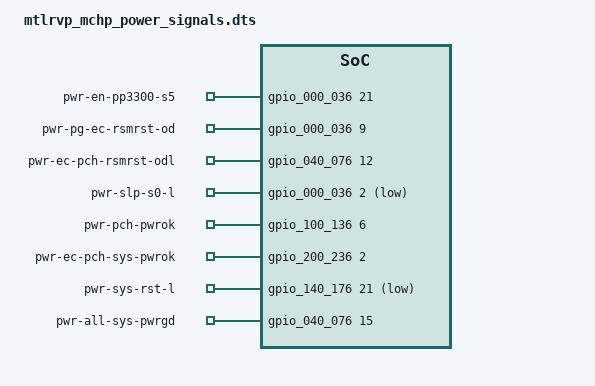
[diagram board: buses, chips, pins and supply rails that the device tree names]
/* Copyright 2022 The Chromium OS Authors. All rights reserved.
 * Use of this source code is governed by a BSD-style license that can be
 * found in the LICENSE file.
 */

/ {
	chosen {
		intel-ap-pwrseq,espi = &espi0;
	};

	common-pwrseq {
		compatible = "intel,ap-pwrseq";

		sys-pwrok-delay = <3>;
		all-sys-pwrgd-timeout = <20>;
	};

	pwr-en-pp3300-s5 {
		compatible = "intel,ap-pwrseq-gpio";
		dbg-label = "PP3300_S5 enable output to LS";
		enum-name = "PWR_EN_PP3300_A";
		/* gpios = <&gpioc 4 0>; */
		gpios = <&gpio_000_036 21 0>;
		output;
	}; /* GPIO025 */
	pwr-pg-ec-rsmrst-od {
		compatible = "intel,ap-pwrseq-gpio";
		dbg-label = "RSMRST power good from regulator";
		enum-name = "PWR_RSMRST_PWRGD";
		/* gpios = <&gpio6 6 0>; */
		gpios = <&gpio_000_036 9 0>;
		interrupt-flags = <GPIO_INT_EDGE_BOTH>;
	}; /* GPIO011 */
	pwr-ec-pch-rsmrst-odl {
		compatible = "intel,ap-pwrseq-gpio";
		dbg-label = "RSMRST output to PCH";
		enum-name = "PWR_EC_PCH_RSMRST";
		/* gpios = <&gpioa 4 0>; */
		gpios = <&gpio_040_076 12 0>;
		output;
	}; /* GPIO054 */
	pwr-slp-s0-l {
		compatible = "intel,ap-pwrseq-gpio";
		dbg-label = "SLP_S0_L input from PCH";
		enum-name = "PWR_SLP_S0";
		/* gpios = <&gpioa 1 GPIO_ACTIVE_LOW>; */
		gpios = <&gpio_000_036 2 GPIO_ACTIVE_LOW>;
		interrupt-flags = <GPIO_INT_EDGE_BOTH>;
	}; /* GPIO002 */
	pwr-pch-pwrok {
		compatible = "intel,ap-pwrseq-gpio";
		dbg-label = "PCH_PWROK output to PCH";
		enum-name = "PWR_PCH_PWROK";
		/* gpios = <&gpiod 3 GPIO_OPEN_DRAIN>; */
		gpios = <&gpio_100_136 6 GPIO_OPEN_DRAIN>;
		output;
	}; /* GPIO106 */
	pwr-ec-pch-sys-pwrok {
		compatible = "intel,ap-pwrseq-gpio";
		dbg-label = "SYS_PWROK output to PCH";
		enum-name = "PWR_EC_PCH_SYS_PWROK";
		/* gpios = <&gpiof 5 GPIO_OPEN_DRAIN>; */
		gpios = <&gpio_200_236 2 GPIO_OPEN_DRAIN>;
		output;
	}; /* GPIO202 */
	pwr-sys-rst-l {
		compatible = "intel,ap-pwrseq-gpio";
		dbg-label = "SYS_RESET# output to PCH";
		enum-name = "PWR_SYS_RST";
		/* gpios = <&gpioc 5 (GPIO_ACTIVE_LOW|GPIO_OPEN_DRAIN)>; */
		gpios = <&gpio_140_176 21 (GPIO_ACTIVE_LOW|GPIO_OPEN_DRAIN)>;
		output;
	}; /* GPIO165 */
	pwr-slp-s3 {
		compatible = "intel,ap-pwrseq-vw";
		dbg-label = "SLP_S3 virtual wire input from PCH";
		enum-name = "PWR_SLP_S3";
		virtual-wire = "ESPI_VWIRE_SIGNAL_SLP_S3";
		vw-invert;
	};
	pwr-slp-s4 {
		compatible = "intel,ap-pwrseq-vw";
		dbg-label = "SLP_S4 virtual wire input from PCH";
		enum-name = "PWR_SLP_S4";
		virtual-wire = "ESPI_VWIRE_SIGNAL_SLP_S4";
		vw-invert;
	};
	pwr-slp-s5 {
		compatible = "intel,ap-pwrseq-vw";
		dbg-label = "SLP_S5 virtual wire input from PCH";
		enum-name = "PWR_SLP_S5";
		virtual-wire = "ESPI_VWIRE_SIGNAL_SLP_S5";
		vw-invert;
	};
	pwr-all-sys-pwrgd {
		compatible = "intel,ap-pwrseq-gpio";
		dbg-label = "all power good";
		enum-name = "PWR_ALL_SYS_PWRGD";
		/* gpios = <&gpio7 0 0>; */
		gpios = <&gpio_040_076 15 0>;
		interrupt-flags = <GPIO_INT_EDGE_BOTH>;
	}; /* GPIO057 */
};

/*
 * Because the power signals directly reference the GPIOs,
 * the correspinding named-gpios need to have no-auto-init set.
 */
&en_pp3300_a {
	no-auto-init;
};
&rsmrst_pwrgd {
	no-auto-init;
};
&ec_pch_rsmrst_l {
	no-auto-init;
};
&pch_slp_s0_n {
	no-auto-init;
};
&ec_pch_pwrok_od {
	no-auto-init;
};
&sys_pwrok_ec {
	no-auto-init;
};
&sys_rst_odl {
	no-auto-init;
};
&all_sys_pwrgd {
	no-auto-init;
};
